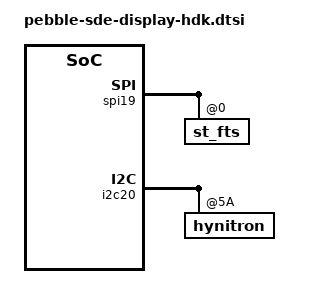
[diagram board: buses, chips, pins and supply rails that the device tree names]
// SPDX-License-Identifier: BSD-3-Clause
/*
 * Copyright (c) Qualcomm Technologies, Inc. and/or its subsidiaries.
 */

#include "pebble-sde-display-mtp.dtsi"

&sde_dsi {
	qcom,dsi-default-panel = <&dsi_nt37801_amoled_cmd>;
};

&spi19 {
	st_fts@0 {
		panel = <&dsi_nt37801_amoled_cmd
			&dsi_nt37801_amoled_video
			&dsi_nt37801_amoled_cmd_cphy
			&dsi_nt37801_amoled_video_cphy
			&dsi_nt37801_amoled_qsync_cmd_cphy
			&dsi_nt37801_amoled_qsync_video_cphy
			&dsi_nt37801_amoled_cmd_cphy_spr
			&dsi_nt37801_amoled_video_cphy_spr>;
	};
};

&i2c20 {
	hynitron@5A {
		panel = <&dsi_sec_co5300_amoled_480p_cmd>;
	};
};

